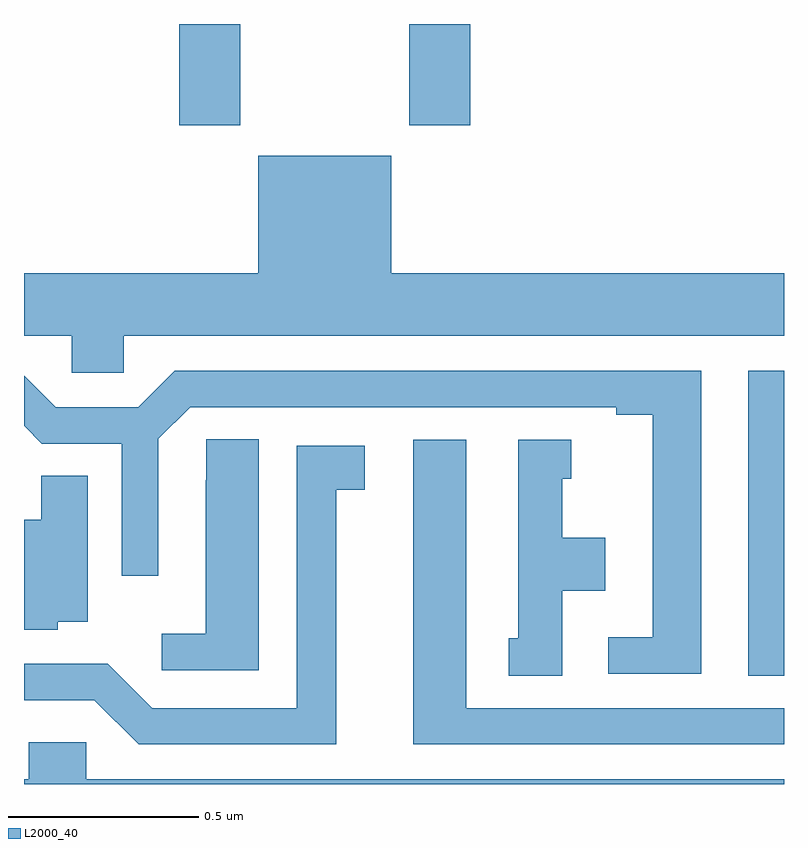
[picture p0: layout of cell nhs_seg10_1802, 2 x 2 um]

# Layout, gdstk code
import gdstk
lib = gdstk.Library(unit=1e-6, precision=1e-09)
def R(c, l, rs):  # rectangles x0, y0, x1, y1
    for r in rs: c.add(gdstk.rectangle(r[:2], r[2:], *l))
def P(c, l, *ps):  # polygons
    for p in ps: c.add(gdstk.Polygon(p, *l))
L2000_40 = (2000, 40)

nhs_seg10_1802 = lib.new_cell('nhs_seg10_1802')
R(nhs_seg10_1802, L2000_40, [(134.906,1268.785,135,1269.588), (133.409,1270.233,133.569,1270.5), (134.014,1270.233,134.174,1270.5)])
P(nhs_seg10_1802, L2000_40, [(133.263,1269.68),(135,1269.68),(135,1269.844),(133.966,1269.844),(133.966,1270.153),(133.616,1270.153),(133.616,1269.844),(133,1269.844),(133,1269.68),(133.125,1269.68),(133.125,1269.582),(133.263,1269.582)],
  [(134.782,1269.588),(133.397,1269.588),(133.301,1269.492),(133.083,1269.492),(133,1269.575),(133,1269.443),(133.047,1269.396),(133.257,1269.396),(133.257,1269.048),(133.353,1269.048),(133.353,1269.408),(133.437,1269.492),(134.558,1269.492),(134.558,1269.472),(134.654,1269.472),(134.654,1268.886),(134.538,1268.886),(134.538,1268.79),(134.782,1268.79)],
  [(133.618,1269.407),(133.479,1269.407),(133.479,1269.299),(133.478,1269.299),(133.478,1268.896),(133.362,1268.896),(133.362,1268.799),(133.618,1268.799)],
  [(135,1268.7),(134.164,1268.7),(134.164,1269.406),(134.024,1269.406),(134.024,1268.604),(135,1268.604)],
  [(134.416,1269.008),(134.53,1269.008),(134.53,1269.148),(134.416,1269.148),(134.416,1269.303),(134.44,1269.303),(134.44,1269.406),(134.3,1269.406),(134.3,1268.883),(134.276,1268.883),(134.276,1268.785),(134.416,1268.785)],
  [(133.822,1269.274),(133.897,1269.274),(133.897,1269.39),(133.718,1269.39),(133.718,1268.7),(133.338,1268.7),(133.221,1268.817),(133,1268.817),(133,1268.721),(133.185,1268.721),(133.302,1268.604),(133.822,1268.604)],
  [(133.089,1268.927),(133.168,1268.927),(133.168,1269.311),(133.046,1269.311),(133.046,1269.196),(133,1269.196),(133,1268.906),(133.089,1268.906)],
  [(135,1268.512),(133.164,1268.512),(133.164,1268.61),(133.013,1268.61),(133.013,1268.512),(133,1268.512),(133,1268.5),(135,1268.5)])

lib.write_gds('nhs_seg10_1802.gds')
